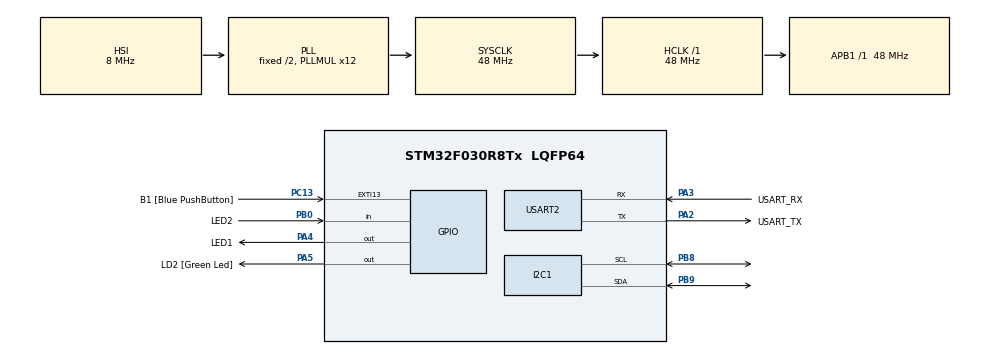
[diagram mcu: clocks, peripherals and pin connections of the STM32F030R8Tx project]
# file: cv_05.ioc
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Dma.Request0=USART2_RX
Dma.USART2_RX.0.Direction=DMA_PERIPH_TO_MEMORY
Dma.USART2_RX.0.Instance=DMA1_Channel5
Dma.USART2_RX.0.MemDataAlignment=DMA_MDATAALIGN_BYTE
Dma.USART2_RX.0.MemInc=DMA_MINC_ENABLE
Dma.USART2_RX.0.Mode=DMA_CIRCULAR
Dma.USART2_RX.0.PeriphDataAlignment=DMA_PDATAALIGN_BYTE
Dma.USART2_RX.0.PeriphInc=DMA_PINC_DISABLE
Dma.USART2_RX.0.Priority=DMA_PRIORITY_LOW
Mcu.Family=STM32F0
Mcu.Name=STM32F030R8Tx
Mcu.Package=LQFP64
NVIC.DMA1_Channel4_5_IRQn=true\:0\:0\:false\:false\:true\:false\:true
PA13.GPIO_Label=TMS
PA13.Mode=Serial_Wire
PA13.Signal=SYS_SWDIO
PA14.GPIO_Label=TCK
PA14.Mode=Serial_Wire
PA14.Signal=SYS_SWCLK
PA2.GPIO_Label=USART_TX
PA2.GPIO_Mode=GPIO_MODE_AF_PP
PA2.GPIO_PuPd=GPIO_NOPULL
PA2.GPIO_Speed=GPIO_SPEED_FREQ_LOW
PA2.Mode=Asynchronous
PA2.Signal=USART2_TX
PA3.GPIO_Label=USART_RX
PA3.GPIO_Mode=GPIO_MODE_AF_PP
PA3.GPIO_PuPd=GPIO_NOPULL
PA3.GPIO_Speed=GPIO_SPEED_FREQ_LOW
PA3.Mode=Asynchronous
PA3.Signal=USART2_RX
PA4.GPIO_Label=LED1
PA4.Signal=GPIO_Output
PA5.GPIO_Label=LD2 [Green Led]
PA5.GPIO_Mode=GPIO_MODE_OUTPUT_PP
PA5.GPIO_PuPd=GPIO_NOPULL
PA5.GPIO_Speed=GPIO_SPEED_FREQ_LOW
PA5.Signal=GPIO_Output
PB0.GPIO_Label=LED2
PB0.Signal=GPIO_Input
PB8.Mode=I2C
PB8.Signal=I2C1_SCL
PB9.Mode=I2C
PB9.Signal=I2C1_SDA
PC13.GPIO_Label=B1 [Blue PushButton]
PC13.GPIO_ModeDefaultEXTI=GPIO_MODE_IT_FALLING
PC13.Signal=GPXTI13
PC14-OSC32_IN.Mode=LSE-External-Oscillator
PC14-OSC32_IN.Signal=RCC_OSC32_IN
PC15-OSC32_OUT.Mode=LSE-External-Oscillator
PC15-OSC32_OUT.Signal=RCC_OSC32_OUT
PF0-OSC_IN.Mode=HSE-External-Clock-Source
PF0-OSC_IN.Signal=RCC_OSC_IN
PF1-OSC_OUT.Signal=RCC_OSC_OUT
ProjectManager.HeapSize=0x200
ProjectManager.StackSize=0x400
ProjectManager.TargetToolchain=STM32CubeIDE
RCC.AHBFreq_Value=48000000
RCC.APB1Freq_Value=48000000
RCC.APB1TimFreq_Value=48000000
RCC.HCLKFreq_Value=48000000
RCC.PLLMUL=RCC_PLL_MUL12
RCC.SYSCLKFreq_VALUE=48000000
RCC.SYSCLKSource=RCC_SYSCLKSOURCE_PLLCLK
USART2.VirtualMode-Asynchronous=VM_ASYNC
board=NUCLEO-F030R8

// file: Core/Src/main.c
/* USER CODE BEGIN Header */
/**
  ******************************************************************************
  * @file           : main.c
  * @brief          : Main program body
  ******************************************************************************
  * @attention
  *
  * <h2><center>&copy; Copyright (c) 2020 STMicroelectronics.
  * All rights reserved.</center></h2>
  *
  * This software component is licensed by ST under BSD 3-Clause license,
  * the "License"; You may not use this file except in compliance with the
  * License. You may obtain a copy of the License at:
  *                        opensource.org/licenses/BSD-3-Clause
  *
  ******************************************************************************
  */
/* USER CODE END Header */
#include "main.h"

/* USER CODE BEGIN Includes */
#include <stdio.h>
#include <string.h>
#include <stdlib.h>

/* USER CODE END Includes */

/* USER CODE BEGIN PD */

#define RX_BUFFER_LEN 64
#define uart_rx_write_ptr (RX_BUFFER_LEN - hdma_usart2_rx.Instance->CNDTR)
#define CMD_BUFFER_LEN 256
#define EEPROM_ADDR 0xA0

/* USER CODE END PD */

I2C_HandleTypeDef hi2c1;

UART_HandleTypeDef huart2;
DMA_HandleTypeDef hdma_usart2_rx;

/* USER CODE BEGIN PV */
static uint8_t uart_rx_buf[RX_BUFFER_LEN];
static volatile uint16_t uart_rx_read_ptr = 0;
/* USER CODE END PV */

void SystemClock_Config(void);
static void MX_GPIO_Init(void);
static void MX_DMA_Init(void);
static void MX_USART2_UART_Init(void);
static void MX_I2C1_Init(void);
/* USER CODE BEGIN PFP */
static void uart_process_command(char *cmd);
static void uart_byte_available(uint8_t c);
int _write(int file, char const *buf, int n);
/* USER CODE END PFP */

/* USER CODE BEGIN 0 */
/**
 * @brief  Process commands
 * @retval void
 */
static void uart_process_command(char *cmd)
{
    /*printf("prijato: '%s'\n", cmd);*/

    char *token;
    token = strtok(cmd, " ");

    /* commands
     * HELLO - write welcome message
     * LED<1;2> <ON;OFF> - toggle the specific LED on or off
     * STATUS - write the status of LEDs
     * READ <address> - read memory address in EEPROM
     * WRITE <address> <value> - write value into a memory address in EEPROM
     * DUMP - dump the EEPROM content between 0x0000 and 0x000F
     */

    if (strcasecmp(token, "HELLO") == 0) {
        printf("Komunikace OK\n");
    }
    else if (strcasecmp(token, "LED1") == 0) {
        token = strtok(NULL, " ");
        if (strcasecmp(token, "ON") == 0) HAL_GPIO_WritePin(LED1_GPIO_Port, LED1_Pin, GPIO_PIN_SET);
        else if (strcasecmp(token, "OFF") == 0) HAL_GPIO_WritePin(LED1_GPIO_Port, LED1_Pin, GPIO_PIN_RESET);
    }
    else if (strcasecmp(token, "LED2") == 0) {
        token = strtok(NULL, " ");
        if (strcasecmp(token, "ON") == 0) HAL_GPIO_WritePin(LED2_GPIO_Port, LED2_Pin, GPIO_PIN_SET);
        else if (strcasecmp(token, "OFF") == 0) HAL_GPIO_WritePin(LED2_GPIO_Port, LED2_Pin, GPIO_PIN_RESET);
    }
    else if (strcasecmp(token, "STATUS") == 0) {
        if (HAL_GPIO_ReadPin(LED1_GPIO_Port, LED1_Pin)) {
        	HAL_GPIO_ReadPin(LED2_GPIO_Port, LED2_Pin) ? printf("stav LED1 = on, LED2 = on\n") : printf("stav LED1 = on, LED2 = off\n");
        }
        else {
        	HAL_GPIO_ReadPin(LED2_GPIO_Port, LED2_Pin) ? printf("stav LED1 = off, LED2 = on\n") : printf("stav LED1 = off, LED2 = off\n");
        }
    }
    else if (strcasecmp(token, "READ") == 0) {
    	token = strtok(NULL, " ");
    	uint16_t addr = atoi(token);
    	uint8_t value;

    	HAL_I2C_Mem_Read(&hi2c1, EEPROM_ADDR, addr, I2C_MEMADD_SIZE_16BIT, &value, 1, 1000);

    	printf("Adresa 0x%04X = 0x%02X\n", addr, value);
    }
    else if (strcasecmp(token, "WRITE") == 0) {
       	token = strtok(NULL, " ");
       	uint16_t addr = atoi(token);
       	token = strtok(NULL, " ");
       	uint8_t value = atoi(token);

       	HAL_I2C_Mem_Write(&hi2c1, EEPROM_ADDR, addr, I2C_MEMADD_SIZE_16BIT, &value, 1, 1000);
       	while(HAL_I2C_IsDeviceReady(&hi2c1, EEPROM_ADDR, 300, 1000) == HAL_TIMEOUT) {}

       	printf("OK\n");
    }
    else if (strcasecmp(token, "DUMP") == 0) {
    	uint8_t value;
    	for(int i = 0; i < 16; i++){
    		HAL_I2C_Mem_Read(&hi2c1, EEPROM_ADDR, i, I2C_MEMADD_SIZE_16BIT, &value, 1, 1000);
    		i == 7 ? printf("%02X\n", value) : printf("%02X ", value); /* ternary operator for better readability */
    	}
    }
    else {
    	printf("neznamy prikaz\n");
    }
}

/**
 * @brief UART buffer with EOL testing
 * @retval void
 */
static void uart_byte_available(uint8_t c)
{
    static uint16_t cnt;
    static char data[CMD_BUFFER_LEN];

    if (cnt < CMD_BUFFER_LEN && c >= 32 && c <= 126) data[cnt++] = c;
    if ((c == '\n' || c == '\r') && cnt > 0) {
        data[cnt] = '\0';
        uart_process_command(data);
        cnt = 0;
    }
}

/**
 * @brief Overload for printf()
 * @retval int
 */
int _write(int file, char const *buf, int n)
{
    HAL_UART_Transmit(&huart2, (uint8_t*)(buf), n, HAL_MAX_DELAY);
    return (n);
}

/* USER CODE END 0 */

int main(void)
{

  /* MCU Configuration--------------------------------------------------------*/

  /* Reset of all peripherals, Initializes the Flash interface and the Systick. */
  HAL_Init();

  /* Configure the system clock */
  SystemClock_Config();

  /* Initialize all configured peripherals */
  MX_GPIO_Init();
  MX_DMA_Init();
  MX_USART2_UART_Init();
  MX_I2C1_Init();
  /* USER CODE BEGIN 2 */

  /* start reading DMA from USART2 */
  HAL_UART_Receive_DMA(&huart2, uart_rx_buf, RX_BUFFER_LEN);

  /* USER CODE END 2 */

  /* Infinite loop */
  while (1)
  {

    /* USER CODE BEGIN 3 */
    while (uart_rx_read_ptr != uart_rx_write_ptr) {
        uint8_t b = uart_rx_buf[uart_rx_read_ptr];
        if (++uart_rx_read_ptr >= RX_BUFFER_LEN) uart_rx_read_ptr = 0; /* increase read pointer */

        uart_byte_available(b); /* process every received byte with the RX state machine */
    }

    /*
    uint8_t c;
    HAL_UART_Receive(&huart2, &c, 1, HAL_MAX_DELAY);
    HAL_UART_Transmit(&huart2, &c, 1, HAL_MAX_DELAY);
    */
  }
  /* USER CODE END 3 */
}

void SystemClock_Config(void)
{
  RCC_OscInitTypeDef RCC_OscInitStruct = {0};
  RCC_ClkInitTypeDef RCC_ClkInitStruct = {0};
  RCC_PeriphCLKInitTypeDef PeriphClkInit = {0};

  /** Initializes the RCC Oscillators according to the specified parameters
  * in the RCC_OscInitTypeDef structure.
  */
  RCC_OscInitStruct.OscillatorType = RCC_OSCILLATORTYPE_HSI;
  RCC_OscInitStruct.HSIState = RCC_HSI_ON;
  RCC_OscInitStruct.HSICalibrationValue = RCC_HSICALIBRATION_DEFAULT;
  RCC_OscInitStruct.PLL.PLLState = RCC_PLL_ON;
  RCC_OscInitStruct.PLL.PLLSource = RCC_PLLSOURCE_HSI;
  RCC_OscInitStruct.PLL.PLLMUL = RCC_PLL_MUL12;
  RCC_OscInitStruct.PLL.PREDIV = RCC_PREDIV_DIV1;
  if (HAL_RCC_OscConfig(&RCC_OscInitStruct) != HAL_OK)
  {
    Error_Handler();
  }
  /** Initializes the CPU, AHB and APB buses clocks
  */
  RCC_ClkInitStruct.ClockType = RCC_CLOCKTYPE_HCLK|RCC_CLOCKTYPE_SYSCLK
                              |RCC_CLOCKTYPE_PCLK1;
  RCC_ClkInitStruct.SYSCLKSource = RCC_SYSCLKSOURCE_PLLCLK;
  RCC_ClkInitStruct.AHBCLKDivider = RCC_SYSCLK_DIV1;
  RCC_ClkInitStruct.APB1CLKDivider = RCC_HCLK_DIV1;

  if (HAL_RCC_ClockConfig(&RCC_ClkInitStruct, FLASH_LATENCY_1) != HAL_OK)
  {
    Error_Handler();
  }
  PeriphClkInit.PeriphClockSelection = RCC_PERIPHCLK_I2C1;
  PeriphClkInit.I2c1ClockSelection = RCC_I2C1CLKSOURCE_HSI;
  if (HAL_RCCEx_PeriphCLKConfig(&PeriphClkInit) != HAL_OK)
  {
    Error_Handler();
  }
}

static void MX_I2C1_Init(void)
{

  hi2c1.Instance = I2C1;
  hi2c1.Init.Timing = 0x2000090E;
  hi2c1.Init.OwnAddress1 = 0;
  hi2c1.Init.AddressingMode = I2C_ADDRESSINGMODE_7BIT;
  hi2c1.Init.DualAddressMode = I2C_DUALADDRESS_DISABLE;
  hi2c1.Init.OwnAddress2 = 0;
  hi2c1.Init.OwnAddress2Masks = I2C_OA2_NOMASK;
  hi2c1.Init.GeneralCallMode = I2C_GENERALCALL_DISABLE;
  hi2c1.Init.NoStretchMode = I2C_NOSTRETCH_DISABLE;
  if (HAL_I2C_Init(&hi2c1) != HAL_OK)
  {
    Error_Handler();
  }
  /** Configure Analogue filter
  */
  if (HAL_I2CEx_ConfigAnalogFilter(&hi2c1, I2C_ANALOGFILTER_ENABLE) != HAL_OK)
  {
    Error_Handler();
  }
  /** Configure Digital filter
  */
  if (HAL_I2CEx_ConfigDigitalFilter(&hi2c1, 0) != HAL_OK)
  {
    Error_Handler();
  }

}

static void MX_USART2_UART_Init(void)
{

  huart2.Instance = USART2;
  huart2.Init.BaudRate = 38400;
  huart2.Init.WordLength = UART_WORDLENGTH_8B;
  huart2.Init.StopBits = UART_STOPBITS_1;
  huart2.Init.Parity = UART_PARITY_NONE;
  huart2.Init.Mode = UART_MODE_TX_RX;
  huart2.Init.HwFlowCtl = UART_HWCONTROL_NONE;
  huart2.Init.OverSampling = UART_OVERSAMPLING_16;
  huart2.Init.OneBitSampling = UART_ONE_BIT_SAMPLE_DISABLE;
  huart2.AdvancedInit.AdvFeatureInit = UART_ADVFEATURE_NO_INIT;
  if (HAL_UART_Init(&huart2) != HAL_OK)
  {
    Error_Handler();
  }

}

static void MX_DMA_Init(void)
{

  /* DMA controller clock enable */
  __HAL_RCC_DMA1_CLK_ENABLE();

  /* DMA interrupt init */
  /* DMA1_Channel4_5_IRQn interrupt configuration */
  HAL_NVIC_SetPriority(DMA1_Channel4_5_IRQn, 0, 0);
  HAL_NVIC_EnableIRQ(DMA1_Channel4_5_IRQn);

}

static void MX_GPIO_Init(void)
{
  GPIO_InitTypeDef GPIO_InitStruct = {0};

  /* GPIO Ports Clock Enable */
  __HAL_RCC_GPIOC_CLK_ENABLE();
  __HAL_RCC_GPIOF_CLK_ENABLE();
  __HAL_RCC_GPIOA_CLK_ENABLE();
  __HAL_RCC_GPIOB_CLK_ENABLE();

  /*Configure GPIO pin Output Level */
  HAL_GPIO_WritePin(GPIOA, LED1_Pin|LD2_Pin, GPIO_PIN_RESET);

  /*Configure GPIO pin : B1_Pin */
  GPIO_InitStruct.Pin = B1_Pin;
  GPIO_InitStruct.Mode = GPIO_MODE_IT_FALLING;
  GPIO_InitStruct.Pull = GPIO_NOPULL;
  HAL_GPIO_Init(B1_GPIO_Port, &GPIO_InitStruct);

  /*Configure GPIO pins : LED1_Pin LD2_Pin */
  GPIO_InitStruct.Pin = LED1_Pin|LD2_Pin;
  GPIO_InitStruct.Mode = GPIO_MODE_OUTPUT_PP;
  GPIO_InitStruct.Pull = GPIO_NOPULL;
  GPIO_InitStruct.Speed = GPIO_SPEED_FREQ_LOW;
  HAL_GPIO_Init(GPIOA, &GPIO_InitStruct);

  /*Configure GPIO pin : LED2_Pin */
  GPIO_InitStruct.Pin = LED2_Pin;
  GPIO_InitStruct.Mode = GPIO_MODE_INPUT;
  GPIO_InitStruct.Pull = GPIO_NOPULL;
  HAL_GPIO_Init(LED2_GPIO_Port, &GPIO_InitStruct);

}

void Error_Handler(void)
{
}

/************************ (C) COPYRIGHT STMicroelectronics *****END OF FILE****/
